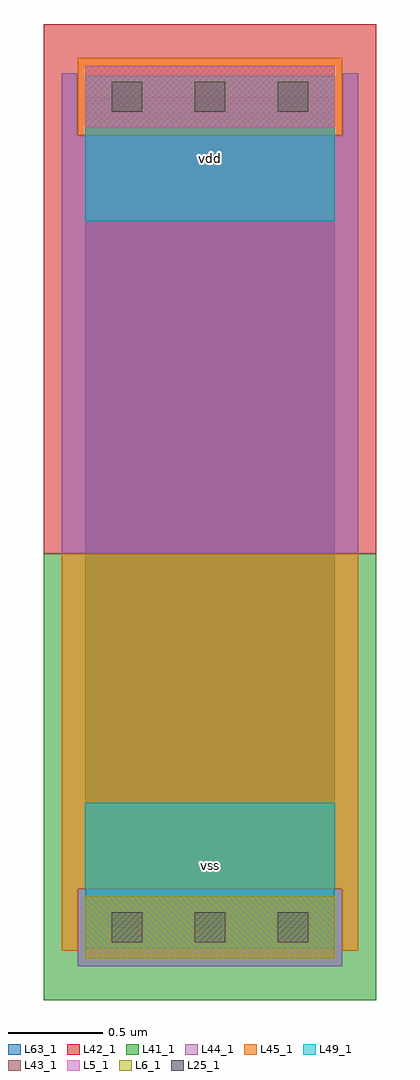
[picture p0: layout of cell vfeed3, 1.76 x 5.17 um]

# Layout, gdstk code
import gdstk
lib = gdstk.Library(unit=1e-6, precision=1e-09)
def R(c, l, rs):  # rectangles x0, y0, x1, y1
    for r in rs: c.add(gdstk.rectangle(r[:2], r[2:], *l))
def A(c, l, x, y, w, h, nx, ny, dx, dy):  # array of equal rectangles
    R(c, l, [(x+i*dx, y+j*dy, x+i*dx+w, y+j*dy+h) for i in range(nx) for j in range(ny)])
L5_1 = (5, 1)
L6_1 = (6, 1)
L25_1 = (25, 1)
L41_1 = (41, 1)
L42_1 = (42, 1)
L43_1 = (43, 1)
L44_1 = (44, 1)
L45_1 = (45, 1)
L49_1 = (49, 1)
L63_1 = (63, 1)

vfeed3 = lib.new_cell('vfeed3')
R(vfeed3, L5_1, [(0,4.235,1.32,4.565)])
R(vfeed3, L6_1, [(0,-0.165,1.32,0.165)])
A(vfeed3, L25_1, 0.14, -0.08, 0.16, 0.16, 3, 2, 0.44, 4.4)
R(vfeed3, L41_1, [(-0.22,-0.385,1.54,1.98)])
R(vfeed3, L42_1, [(-0.22,1.98,1.54,4.785)])
R(vfeed3, L43_1, [(0,-0.165,1.32,0.165), (0,4.235,1.32,4.565)])
R(vfeed3, L44_1, [(-0.04,-0.205,1.36,0.205), (-0.125,1.98,1.445,4.195), (-0.125,4.195,-0.04,4.525), (1.36,4.195,1.445,4.525)])
R(vfeed3, L45_1, [(-0.125,-0.125,-0.04,0.205), (1.36,-0.125,1.445,0.205), (-0.125,0.205,1.445,1.98), (-0.04,4.195,1.36,4.605)])
R(vfeed3, L49_1, [(0,-0.11,1.32,0.66), (0,3.74,1.32,4.51)])
R(vfeed3, L63_1, [(0,0,1.32,4.4)])
vfeed3.add(gdstk.Label('vss', (0.66,0.33), layer=49, texttype=1))
vfeed3.add(gdstk.Label('vdd', (0.66,4.07), layer=49, texttype=1))

lib.write_gds('vfeed3.gds')
